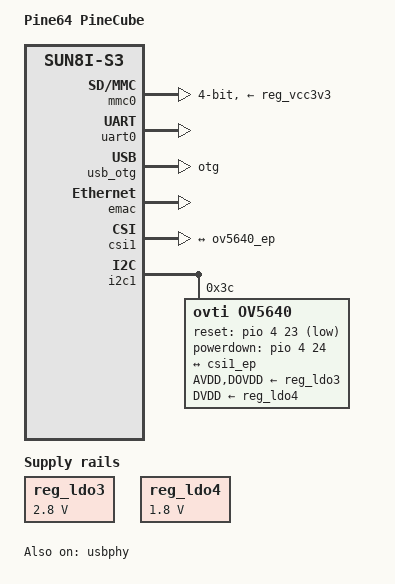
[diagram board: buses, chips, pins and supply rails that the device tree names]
/*
 * Copyright (C) 2020 Daniel Fullmer <danielrf12@gmail.com>
 * Copyright (C) 2016 Icenowy Zheng <icenowy@aosc.xyz>
 *
 * This file is dual-licensed: you can use it either under the terms
 * of the GPL or the X11 license, at your option. Note that this dual
 * licensing only applies to this file, and not this project as a
 * whole.
 *
 *  a) This file is free software; you can redistribute it and/or
 *     modify it under the terms of the GNU General Public License as
 *     published by the Free Software Foundation; either version 2 of the
 *     License, or (at your option) any later version.
 *
 *     This file is distributed in the hope that it will be useful,
 *     but WITHOUT ANY WARRANTY; without even the implied warranty of
 *     MERCHANTABILITY or FITNESS FOR A PARTICULAR PURPOSE.  See the
 *     GNU General Public License for more details.
 *
 * Or, alternatively,
 *
 *  b) Permission is hereby granted, free of charge, to any person
 *     obtaining a copy of this software and associated documentation
 *     files (the "Software"), to deal in the Software without
 *     restriction, including without limitation the rights to use,
 *     copy, modify, merge, publish, distribute, sublicense, and/or
 *     sell copies of the Software, and to permit persons to whom the
 *     Software is furnished to do so, subject to the following
 *     conditions:
 *
 *     The above copyright notice and this permission notice shall be
 *     included in all copies or substantial portions of the Software.
 *
 *     THE SOFTWARE IS PROVIDED "AS IS", WITHOUT WARRANTY OF ANY KIND,
 *     EXPRESS OR IMPLIED, INCLUDING BUT NOT LIMITED TO THE WARRANTIES
 *     OF MERCHANTABILITY, FITNESS FOR A PARTICULAR PURPOSE AND
 *     NONINFRINGEMENT. IN NO EVENT SHALL THE AUTHORS OR COPYRIGHT
 *     HOLDERS BE LIABLE FOR ANY CLAIM, DAMAGES OR OTHER LIABILITY,
 *     WHETHER IN AN ACTION OF CONTRACT, TORT OR OTHERWISE, ARISING
 *     FROM, OUT OF OR IN CONNECTION WITH THE SOFTWARE OR THE USE OR
 *     OTHER DEALINGS IN THE SOFTWARE.
 */

/dts-v1/;
#include "sun8i-v3s.dtsi"
#include "sunxi-common-regulators.dtsi"

/ {
	model = "Pine64 PineCube";
	compatible = "pine64,pinecube", "allwinner,sun8i-s3";

	aliases {
		ethernet0 = &emac;
		serial0 = &uart0;
	};

	chosen {
		stdout-path = "serial0:115200n8";
	};
};

&mmc0 {
	pinctrl-0 = <&mmc0_pins_a>;
	pinctrl-names = "default";
	broken-cd;
	bus-width = <4>;
	vmmc-supply = <&reg_vcc3v3>;
	status = "okay";
};

&uart0 {
	pinctrl-0 = <&uart0_pins_a>;
	pinctrl-names = "default";
	status = "okay";
};

&usb_otg {
	dr_mode = "otg";
	status = "okay";
};

&usbphy {
	usb0_id_det-gpio = <&pio 5 6 GPIO_ACTIVE_HIGH>;
	status = "okay";
};

&emac {
	status = "okay";
};

&csi1 {
	pinctrl-names = "default";
	pinctrl-0 = <&csi1_8bit_pins>;
	status = "okay";

	port {
		#address-cells = <1>;
		#size-cells = <0>;

		csi1_ep: endpoint {
			remote-endpoint = <&ov5640_ep>;
			bus-width = <8>;
			hsync-active = <1>; /* Active high */
			vsync-active = <0>; /* Active low */
			data-active = <1>;  /* Active high */
			pclk-sample = <1>;  /* Rising */
		};
	};
};

&i2c1 {
	pinctrl-names = "default";
	pinctrl-0 = <&i2c1_pe_pins>;
	status = "okay";

	ov5640: camera@3c {
		compatible = "ovti,ov5640";
		reg = <0x3c>;
		pinctrl-names = "default";
		pinctrl-0 = <&csi1_mclk_pin>;
		clocks = <&ccu CLK_CSI1_MCLK>;
		clock-names = "xclk";

		AVDD-supply = <&reg_ldo3>;
		DOVDD-supply = <&reg_ldo3>;
		DVDD-supply = <&reg_ldo4>;
		reset-gpios = <&pio 4 23 GPIO_ACTIVE_LOW>; /* PE23 */
		powerdown-gpios = <&pio 4 24 GPIO_ACTIVE_HIGH>; /* PE24 */

		port {
			ov5640_ep: endpoint {
				remote-endpoint = <&csi1_ep>;
				bus-width = <8>;
				hsync-active = <1>; /* Active high */
				vsync-active = <0>; /* Active low */
				data-active = <1>;  /* Active high */
				pclk-sample = <1>;  /* Rising */
			};
		};
	};
};

&reg_ldo3 {
	regulator-min-microvolt = <2800000>;
	regulator-max-microvolt = <2800000>;
	regulator-name = "avdd-dovdd-2v8-csi";
	regulator-soft-start;
	regulator-ramp-delay = <1600>;
};

&reg_ldo4 {
	regulator-min-microvolt = <1800000>;
	regulator-max-microvolt = <1800000>;
	regulator-name = "dvdd-1v8-csi";
};
